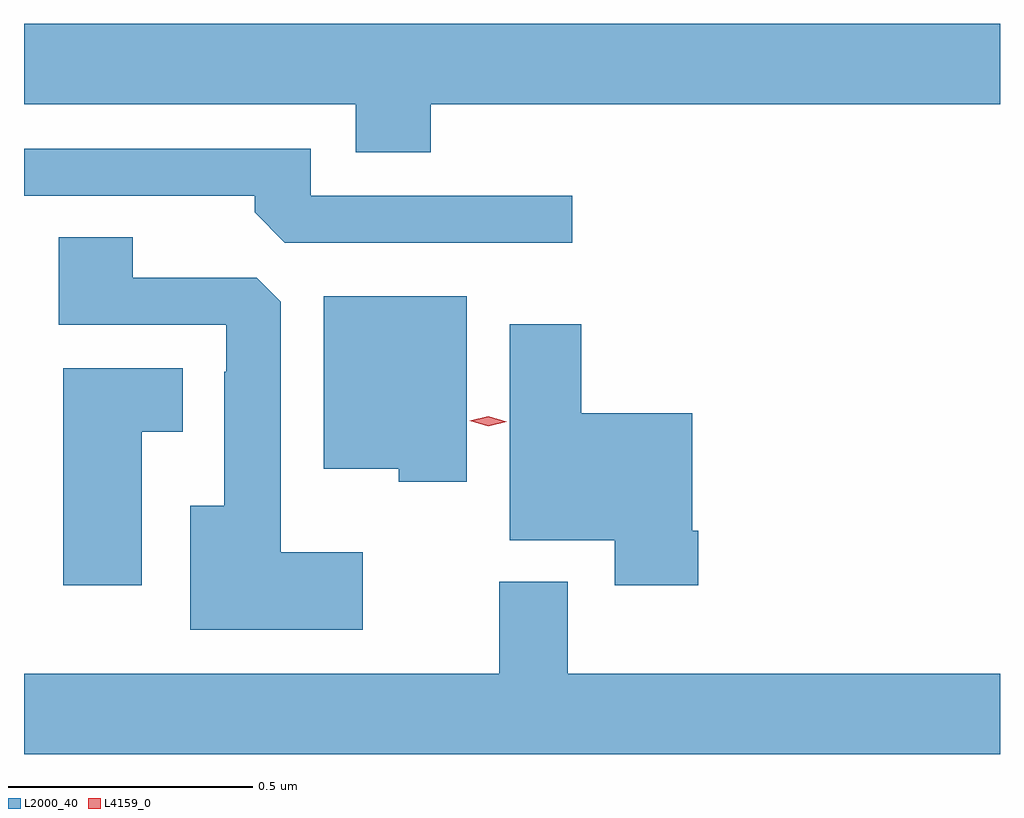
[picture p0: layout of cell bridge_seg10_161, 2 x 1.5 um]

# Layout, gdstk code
import gdstk
lib = gdstk.Library(unit=1e-6, precision=1e-09)
def P(c, l, *ps):  # polygons
    for p in ps: c.add(gdstk.Polygon(p, *l))
L2000_40 = (2000, 40)
L4159_0 = (4159, 0)

bridge_seg10_161 = lib.new_cell('bridge_seg10_161')
P(bridge_seg10_161, L2000_40, [(250.88,1277.672),(252.047,1277.672),(252.047,1277.836),(250.047,1277.836),(250.047,1277.672),(250.727,1277.672),(250.727,1277.573),(250.88,1277.573)],
  [(251.17,1277.484),(250.635,1277.484),(250.635,1277.58),(250.047,1277.58),(250.047,1277.484),(250.52,1277.484),(250.52,1277.45),(250.581,1277.388),(251.17,1277.388)],
  [(250.741,1276.753),(250.573,1276.753),(250.573,1277.267),(250.524,1277.316),(250.27,1277.316),(250.27,1277.399),(250.118,1277.399),(250.118,1277.22),(250.461,1277.22),(250.461,1277.123),(250.457,1277.123),(250.457,1276.849),(250.388,1276.849),(250.388,1276.595),(250.741,1276.595)],
  [(250.954,1277.278),(250.661,1277.278),(250.661,1276.925),(250.815,1276.925),(250.815,1276.898),(250.954,1276.898)],
  [(251.429,1276.798),(251.416,1276.798),(251.416,1277.038),(251.189,1277.038),(251.189,1277.221),(251.042,1277.221),(251.042,1276.778),(251.258,1276.778),(251.258,1276.686),(251.429,1276.686)],
  [(250.288,1277),(250.372,1277),(250.372,1277.131),(250.127,1277.131),(250.127,1276.686),(250.288,1276.686)],
  [(251.021,1276.693),(251.021,1276.504),(250.047,1276.504),(250.047,1276.34),(252.047,1276.34),(252.047,1276.504),(251.161,1276.504),(251.161,1276.693)])
P(bridge_seg10_161, L4159_0, [(250.998,1277.012),(250.96,1277.023),(250.96,1277.023),(250.96,1277.023),(250.998,1277.032),(251.036,1277.021),(251.036,1277.021),(251.036,1277.021)])

lib.write_gds('bridge_seg10_161.gds')
